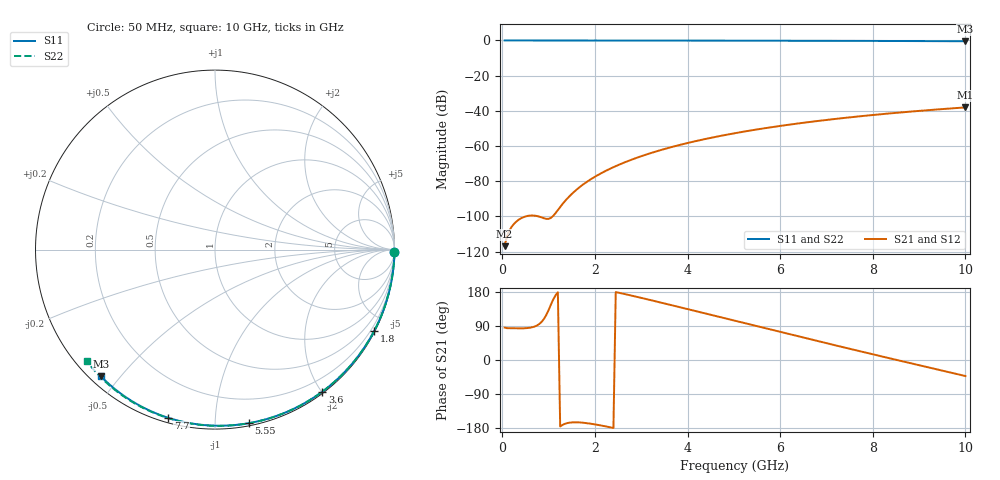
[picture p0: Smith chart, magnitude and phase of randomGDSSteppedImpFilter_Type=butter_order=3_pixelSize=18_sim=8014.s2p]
! freq	dB(S11)	phase(S11)	dB(S12)	phase(S12)
!  dB(S21)	phase(S21)	dB(S22)	phase(S22)
!S-par simulation data
#  GHz  S  DB  R 50
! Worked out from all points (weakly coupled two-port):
!   200 points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, 50 MHz to 10 GHz, reference 50 ohm
!   highest |S21| = -38.07 dB at 10 GHz (marker M1); lowest = -117.0 dB at 50 MHz (marker M2)
!   lowest |S11| = -0.4 dB at 10 GHz (marker M3), VSWR 38.95, Z = 1.54 - j22.3 ohm
!   |S11| at or under -10 dB: nowhere
!   |S22| runs from -0.5 to 0.0 dB; largest |S21 - S12| = 0
!   S11 on the Smith chart (normalised r, x): 50 MHz: open; 1.8 GHz: 0.04, -4.16; 3.6 GHz: 0.02, -2.01; 5.55 GHz: 0.02, -1.21; 7.7 GHz: 0.02, -0.76; 10 GHz: 0.03, -0.45
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0.05  -0.00 -0.8  -116.97 85.6  -116.97 85.6  -0.00 -0.8
0.45  -0.01 -6.9  -100.56 83.6  -100.56 83.6  -0.01 -7.2
0.9  -0.02 -13.7  -101.09 108.5  -101.09 108.5  -0.02 -14.4
1.75  -0.03 -26.3  -81.80 -165.6  -81.80 -165.6  -0.04 -27.7
1.8  -0.03 -27.1  -80.86 -166.3  -80.86 -166.3  -0.04 -28.5
1.85  -0.04 -27.8  -79.97 -167.1  -79.97 -167.1  -0.04 -29.3
2  -0.04 -30.0  -77.50 -169.9  -77.50 -169.9  -0.04 -31.6
2.15  -0.04 -32.2  -75.28 -173.2  -75.28 -173.2  -0.04 -33.9
2.35  -0.04 -35.1  -72.65 -178.1  -72.65 -178.1  -0.05 -37.0
2.55  -0.05 -38.0  -70.31 176.6  -70.31 176.6  -0.05 -40.0
2.95  -0.06 -43.7  -66.27 165.4  -66.27 165.4  -0.06 -46.0
3.4  -0.07 -50.1  -62.49 152.3  -62.49 152.3  -0.07 -52.7
3.6  -0.07 -52.9  -61.00 146.3  -61.00 146.3  -0.07 -55.7
4.3  -0.09 -62.5  -56.51 125.3  -56.51 125.3  -0.09 -65.7
5.05  -0.11 -72.5  -52.60 102.6  -52.60 102.6  -0.12 -76.2
5.55  -0.13 -79.0  -50.38 87.6  -50.38 87.6  -0.14 -83.0
6.1  -0.15 -86.0  -48.22 71.1  -48.22 71.1  -0.16 -90.4
6.7  -0.18 -93.4  -46.14 53.2  -46.14 53.2  -0.19 -98.2
7.7  -0.24 -105.5  -43.18 23.8  -43.18 23.8  -0.25 -110.8
8.35  -0.29 -113.1  -41.52 4.9  -41.52 4.9  -0.30 -118.9
9.2  -0.36 -122.9  -39.62 -19.5  -39.62 -19.5  -0.38 -129.3
10  -0.45 -132.0  -38.07 -42.3  -38.07 -42.3  -0.47 -138.9
